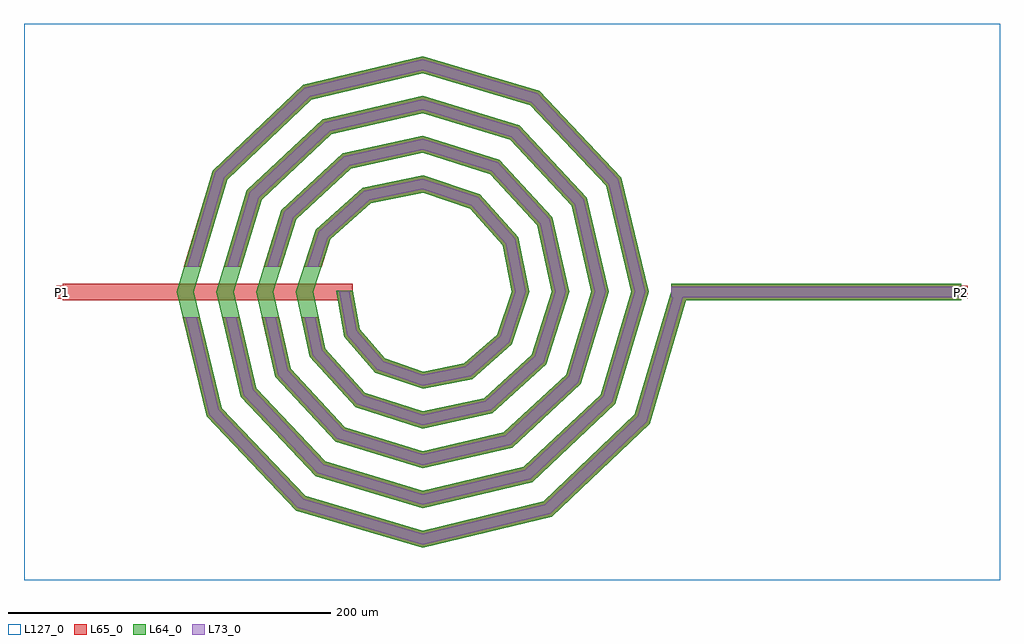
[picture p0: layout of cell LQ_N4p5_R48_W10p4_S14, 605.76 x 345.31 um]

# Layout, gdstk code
import gdstk
lib = gdstk.Library(unit=1e-6, precision=1e-09)
def R(c, l, rs):  # rectangles x0, y0, x1, y1
    for r in rs: c.add(gdstk.rectangle(r[:2], r[2:], *l))
def P(c, l, *ps):  # polygons
    for p in ps: c.add(gdstk.Polygon(p, *l))
L64_0 = (64, 0)
L65_0 = (65, 0)
L73_0 = (73, 0)
L127_0 = (127, 0)

lq_n4p5_r48_w10p4_s14 = lib.new_cell('LQ_N4p5_R48_W10p4_S14')
R(lq_n4p5_r48_w10p4_s14, L64_0, [(154.413,-5.2,334.413,5.2)])
P(lq_n4p5_r48_w10p4_s14, L64_0, [(-38.973,-22.972),(-23.308,-41.153),(0.377,-49.349),(26.017,-44.337),(46.474,-26.427),(55.517,0.339),(49.696,29.071),(29.54,51.799),(0.308,61.686),(-32.13,55.053),(-57.128,32.648),(-67.854,0.282),(-60.408,-35.193),(-35.752,-62.459),(0.26,-74.024),(38.26,-65.761),(67.792,-38.854),(80.193,0.241),(71.112,41.329),(41.954,73.126),(0.225,86.362),(-44.4,76.463),(-78.462,45.051),(-92.532,0.211),(-81.813,-47.473),(-48.147,-83.798),(0.198,-98.702),(50.548,-87.162),(89.136,-51.242),(104.871,0.187),(92.51,53.623),(54.336,94.474),(0.177,111.041),(-56.7,97.858),(-99.812,57.429),(-117.211,0.168),(-103.206,-59.777),(-60.521,-105.151),(0.16,-123.381),(62.855,-108.553),(110.491,-63.612),(129.551,0.153),(113.9,65.934),(66.703,115.831),(0.146,135.721),(-69.014,119.246),(-121.171,69.794),(-141.891,0.14),(-124.593,-72.093),(-72.884,-126.511),(0.135,-148.061),(75.174,-129.939),(131.852,-75.973),(154.624,1.467),(164.601,-1.467),(141.043,-81.582),(80.326,-139.394),(0.135,-158.824),(-78.502,-135.697),(-134.053,-77.236),(-152.654,0.14),(-130.35,75.422),(-74.145,128.712),(0.146,146.484),(72.342,125.003),(123.372,71.055),(140.314,0.153),(119.656,-69.263),(67.963,-118.032),(0.16,-134.144),(-66.185,-114.309),(-112.692,-64.872),(-127.973,0.168),(-108.961,63.107),(-61.779,107.353),(0.177,121.803),(60.03,103.613),(102.014,58.685),(115.633,0.187),(98.264,-56.953),(55.591,-96.676),(0.198,-109.462),(-53.878,-92.915),(-91.338,-52.495),(-103.292,0.211),(-87.564,50.804),(-49.398,86.001),(0.225,97.121),(47.732,82.213),(80.665,46.3),(90.951,0.241),(76.86,-44.661),(43.199,-75.329),(0.26,-84.78),(-41.593,-71.507),(-69.996,-40.095),(-78.609,0.282),(-66.151,38.527),(-36.989,64.663),(0.308,72.437),(35.465,60.792),(59.333,33.878),(66.266,0.339),(55.431,-32.408),(30.761,-54.006),(0.377,-60.094),(-29.357,-50.065),(-48.682,-27.636),(-53.663,0.954),(-43.44,0.954)])
R(lq_n4p5_r48_w10p4_s14, L65_0, [(-223.351,-5.2,-43.351,5.2), (154.413,-5.2,334.413,5.2), (-227.351,-4,-219.351,4), (330.413,-4,338.413,4)])
P(lq_n4p5_r48_w10p4_s14, L65_0, [(-124.593,-72.093),(-72.884,-126.511),(0.135,-148.061),(75.174,-129.939),(131.852,-75.973),(154.624,1.467),(164.601,-1.467),(141.043,-81.583),(80.326,-139.394),(0.135,-158.825),(-78.502,-135.697),(-134.053,-77.236),(-148.87,-15.6),(-138.174,-15.6)],
  [(-103.206,-59.777),(-60.521,-105.151),(0.16,-123.381),(62.855,-108.553),(110.491,-63.612),(129.551,0.153),(113.9,65.934),(66.703,115.831),(0.146,135.721),(-69.014,119.246),(-121.171,69.794),(-137.227,15.6),(-148.074,15.6),(-130.35,75.422),(-74.145,128.712),(0.146,146.484),(72.342,125.004),(123.372,71.055),(140.314,0.153),(119.656,-69.263),(67.963,-118.032),(0.16,-134.144),(-66.185,-114.309),(-112.692,-64.872),(-124.269,-15.6),(-113.585,-15.6)],
  [(-81.813,-47.473),(-48.147,-83.798),(0.198,-98.702),(50.548,-87.162),(89.136,-51.242),(104.871,0.187),(92.51,53.623),(54.336,94.474),(0.177,111.041),(-56.7,97.858),(-99.812,57.429),(-112.448,15.6),(-123.312,15.6),(-108.961,63.107),(-61.779,107.353),(0.177,121.803),(60.03,103.613),(102.014,58.686),(115.633,0.187),(98.264,-56.953),(55.591,-96.676),(0.198,-109.462),(-53.878,-92.915),(-91.338,-52.495),(-99.706,-15.6),(-89.042,-15.6)],
  [(-60.408,-35.193),(-35.753,-62.459),(0.26,-74.024),(38.26,-65.761),(67.792,-38.854),(80.193,0.241),(71.112,41.329),(41.954,73.126),(0.225,86.362),(-44.4,76.463),(-78.462,45.051),(-87.617,15.6),(-98.508,15.6),(-87.564,50.804),(-49.398,86.001),(0.225,97.121),(47.732,82.213),(80.665,46.3),(90.951,0.241),(76.861,-44.661),(43.199,-75.33),(0.26,-84.78),(-41.593,-71.507),(-69.996,-40.095),(-75.221,-15.6),(-64.587,-15.6)],
  [(-23.308,-41.153),(0.377,-49.349),(26.017,-44.337),(46.474,-26.427),(55.517,0.339),(49.696,29.071),(29.54,51.799),(0.308,61.686),(-32.13,55.053),(-57.128,32.648),(-62.681,15.6),(-73.619,15.6),(-66.151,38.527),(-36.989,64.664),(0.308,72.437),(35.465,60.792),(59.333,33.878),(66.266,0.339),(55.431,-32.408),(30.761,-54.006),(0.377,-60.094),(-29.357,-50.065),(-48.682,-27.636),(-53.663,0.954),(-43.44,0.954),(-38.973,-22.972)])
R(lq_n4p5_r48_w10p4_s14, L73_0, [(154.413,-3.2,334.413,3.2)])
P(lq_n4p5_r48_w10p4_s14, L73_0, [(-126.412,-73.082),(-73.964,-128.278),(0.083,-150.131),(76.164,-131.757),(133.619,-77.052),(156.543,0.903),(162.683,0.903),(139.275,-80.504),(79.335,-137.575),(0.083,-156.755),(-77.422,-133.93),(-132.234,-76.247),(-146.813,-15.6),(-140.231,-15.6)],
  [(-105.03,-60.757),(-61.61,-106.912),(0.099,-125.451),(63.838,-110.376),(112.253,-64.699),(131.621,0.094),(115.721,66.919),(67.788,117.595),(0.09,137.791),(-70.001,121.067),(-122.936,70.876),(-139.313,15.6),(-145.988,15.6),(-128.585,74.34),(-73.159,126.892),(0.09,144.414),(71.258,123.24),(121.55,70.07),(138.244,0.094),(117.894,-68.177),(66.981,-116.209),(0.099,-132.074),(-65.095,-112.548),(-110.868,-63.892),(-122.214,-15.6),(-115.64,-15.6)],
  [(-83.645,-48.439),(-49.249,-85.551),(0.122,-100.771),(51.518,-88.991),(90.891,-52.34),(106.941,0.115),(94.338,54.597),(55.431,96.231),(0.109,113.111),(-57.677,99.684),(-101.572,58.521),(-114.537,15.6),(-121.223,15.6),(-107.202,62.015),(-60.802,105.527),(0.109,119.733),(58.935,101.855),(100.186,57.712),(113.563,0.115),(96.509,-55.855),(54.621,-94.846),(0.122,-107.393),(-52.776,-91.162),(-89.506,-51.53),(-97.655,-15.6),(-91.093,-15.6)],
  [(-62.251,-36.136),(-36.876,-64.199),(0.16,-76.092),(39.209,-67.601),(69.536,-39.971),(82.262,0.149),(72.949,42.285),(43.065,74.874),(0.139,88.431),(-45.361,78.297),(-80.212,46.158),(-89.711,15.6),(-96.414,15.6),(-85.814,49.698),(-48.437,84.167),(0.139,95.052),(46.62,80.466),(78.828,45.344),(88.882,0.149),(75.117,-43.544),(42.249,-73.489),(0.16,-82.711),(-40.469,-69.767),(-68.152,-39.153),(-73.176,-15.6),(-66.632,-15.6)],
  [(-24.471,-42.867),(0.232,-51.416),(26.93,-46.196),(48.197,-27.577),(57.584,0.209),(51.549,29.995),(30.679,53.529),(0.189,63.753),(-33.064,56.901),(-58.863,33.779),(-64.784,15.6),(-71.516,15.6),(-64.415,37.396),(-36.054,62.815),(0.189,70.37),(34.326,59.063),(57.48,32.953),(64.199,0.209),(53.708,-31.258),(29.849,-52.147),(0.232,-58.027),(-28.194,-48.351),(-46.815,-26.739),(-51.697,0.587),(-45.406,0.587),(-40.841,-23.869)])
R(lq_n4p5_r48_w10p4_s14, L127_0, [(-247.351,-178.825,358.413,166.484)])
lq_n4p5_r48_w10p4_s14.add(gdstk.Label('P2', (334.413,0), layer=65, texttype=0))
lq_n4p5_r48_w10p4_s14.add(gdstk.Label('P1', (-223.351,0), layer=65, texttype=0))
lq_n4p5_r48_w10p4_s14.add(gdstk.Label('P2', (338.413,0), layer=145, texttype=0))
lq_n4p5_r48_w10p4_s14.add(gdstk.Label('P1', (-227.351,0), layer=145, texttype=0))

lib.write_gds('LQ_N4p5_R48_W10p4_S14.gds')
